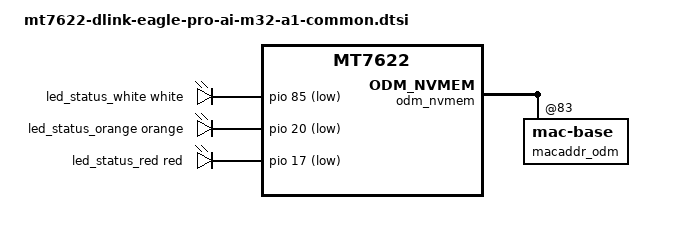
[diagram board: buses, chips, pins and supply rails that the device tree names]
// SPDX-License-Identifier: GPL-2.0-or-later OR MIT

/ {
	aliases {
		led-boot = &led_status_orange;
		led-failsafe = &led_status_red;
		led-running = &led_status_white;
		led-upgrade = &led_status_red;
	};

	leds {
		led_status_white: led-status-white {
			color = <LED_COLOR_ID_WHITE>;
			function = LED_FUNCTION_STATUS;
			gpios = <&pio 85 GPIO_ACTIVE_LOW>;
		};

		led_status_orange: led-status-orange {
			color = <LED_COLOR_ID_ORANGE>;
			function = LED_FUNCTION_STATUS;
			gpios = <&pio 20 GPIO_ACTIVE_LOW>;
			default-state = "on";
		};

		led_status_red: led-status-red {
			color = <LED_COLOR_ID_RED>;
			function = LED_FUNCTION_STATUS;
			gpios = <&pio 17 GPIO_ACTIVE_LOW>;
		};
	};
};

&odm_nvmem {
	macaddr_odm: macaddr@83 {
		compatible = "mac-base";
		reg = <0x83 0x6>;
		#nvmem-cell-cells = <1>;
	};
};
